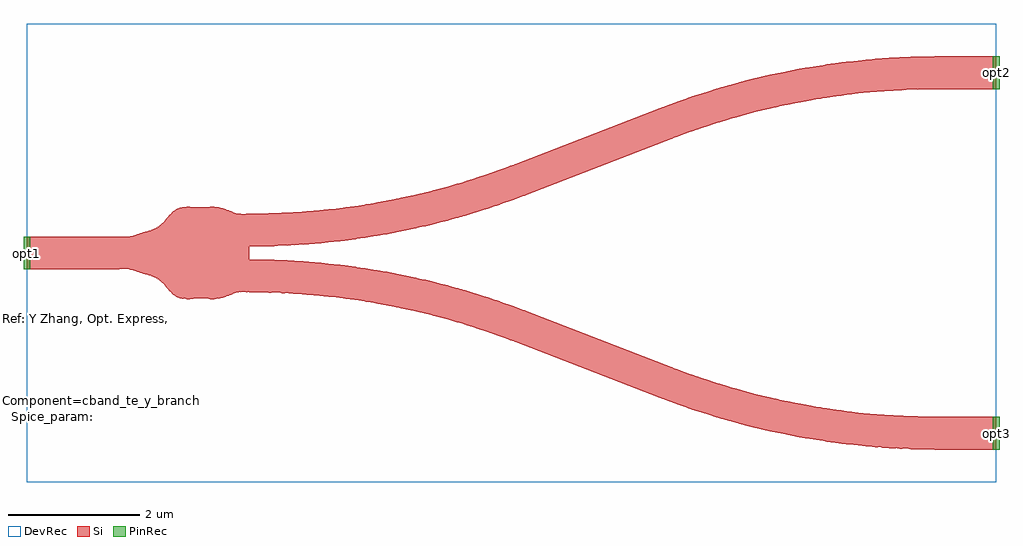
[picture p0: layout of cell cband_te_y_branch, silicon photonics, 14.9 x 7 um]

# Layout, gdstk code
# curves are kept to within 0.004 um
import gdstk
lib = gdstk.Library(unit=1e-6, precision=1e-09)
def R(c, l, rs):  # rectangles x0, y0, x1, y1
    for r in rs: c.add(gdstk.rectangle(r[:2], r[2:], *l))
def P(c, l, *ps):  # polygons
    for p in ps: c.add(gdstk.Polygon(p, *l))
Si = (1, 0)
PinRec = (1, 10)
DevRec = (68, 0)

cband_te_y_branch = lib.new_cell('cband_te_y_branch')
R(cband_te_y_branch, Si, [(6.5,-3,7.4,-2.5), (-7.4,-0.25,-6,0.25), (6.5,2.5,7.4,3)])
P(cband_te_y_branch, Si, [(6.458,-3),(6.237,-2.997),(6.237,-2.497),(6.5,-2.5),(6.5,-3)],
  [(5.033,-2.908),(4.653,-2.854),(4.288,-2.79),(3.941,-2.718),(3.59,-2.634),(3.272,-2.548),(2.922,-2.442),(2.555,-2.318),(2.265,-2.21),(2.445,-1.744),(2.785,-1.869),(3.075,-1.966),(3.437,-2.075),(3.731,-2.154),(4.032,-2.226),(4.372,-2.297),(4.693,-2.354),(5.033,-2.404)],
  [(6.233,-2.997),(5.946,-2.987),(5.619,-2.967),(5.033,-2.908),(5.033,-2.404),(5.625,-2.466),(5.958,-2.487),(6.237,-2.497)],
  [(2.265,-2.21),(0.055,-1.356),(0.235,-0.89),(2.445,-1.744)],
  [(-0.762,-1.076),(-1.123,-0.974),(-1.532,-0.874),(-1.909,-0.796),(-2.334,-0.724),(-2.792,-0.665),(-3.178,-0.63),(-3.601,-0.607),(-4,-0.6),(-4,-0.1),(-3.565,-0.108),(-3.16,-0.13),(-2.794,-0.162),(-2.381,-0.212),(-1.968,-0.277),(-1.565,-0.355),(-1.214,-0.435),(-0.762,-0.555)],
  [(0.055,-1.356),(-0.369,-1.202),(-0.762,-1.076),(-0.762,-0.555),(-0.263,-0.71),(0.235,-0.89)],
  [(6.237,2.497),(6.237,2.997),(6.5,3),(6.5,2.5)],
  [(2.445,1.744),(2.267,2.211),(2.555,2.318),(2.922,2.442),(3.272,2.548),(3.59,2.634),(3.941,2.718),(4.288,2.79),(4.653,2.854),(5.033,2.908),(5.033,2.404),(4.693,2.354),(4.372,2.297),(4.032,2.226),(3.731,2.154),(3.437,2.075),(3.075,1.966),(2.785,1.869)],
  [(5.033,2.404),(5.033,2.908),(5.619,2.967),(5.946,2.987),(6.237,2.997),(6.237,2.497),(5.958,2.487),(5.625,2.466)],
  [(0.235,0.89),(0.055,1.356),(2.265,2.21),(2.445,1.744)],
  [(-4,0.1),(-4,0.6),(-3.601,0.607),(-3.178,0.63),(-2.792,0.665),(-2.334,0.724),(-1.909,0.796),(-1.532,0.874),(-1.123,0.974),(-0.762,1.076),(-0.762,0.555),(-1.214,0.435),(-1.565,0.355),(-1.968,0.277),(-2.381,0.212),(-2.794,0.162),(-3.16,0.13),(-3.565,0.108)],
  [(-0.762,0.555),(-0.762,1.076),(-0.369,1.202),(0.055,1.356),(0.235,0.89),(-0.263,0.71)],
  [(-5.122,-0.662),(-5.179,-0.619),(-5.344,-0.44),(-5.39,-0.404),(-5.442,-0.374),(-5.536,-0.338),(-5.808,-0.255),(-5.883,-0.245),(-6,-0.25),(-6,0.25),(-5.883,0.245),(-5.817,0.253),(-5.536,0.338),(-5.442,0.374),(-5.39,0.404),(-5.344,0.44),(-5.204,0.594),(-5.122,0.662)],
  [(-4.957,-0.703),(-5.047,-0.692),(-5.122,-0.662),(-5.122,0.662),(-5.062,0.688),(-4.978,0.702),(-4.538,0.703),(-4.424,0.685),(-4.232,0.617),(-4.167,0.6),(-4.123,0.595),(-4,0.6),(-4,-0.6),(-4.067,-0.595),(-4.167,-0.6),(-4.232,-0.617),(-4.403,-0.679),(-4.509,-0.701)])
R(cband_te_y_branch, DevRec, [(-7.4,-3.5,7.4,3.5)])
cband_te_y_branch.add(gdstk.FlexPath([(-7.35,0),(-7.45,0)], 0.5, ends="flush", simple_path=True, layer=1, datatype=10))  # PinRec
cband_te_y_branch.add(gdstk.FlexPath([(7.35,2.75),(7.45,2.75)], 0.5, ends="flush", simple_path=True, layer=1, datatype=10))  # PinRec
cband_te_y_branch.add(gdstk.FlexPath([(7.35,-2.75),(7.45,-2.75)], 0.5, ends="flush", simple_path=True, layer=1, datatype=10))  # PinRec
cband_te_y_branch.add(gdstk.Label('Ref: Y Zhang, Opt. Express, 21/1, 2013', (-7.5,-1), layer=10, texttype=0))
cband_te_y_branch.add(gdstk.Label('opt2', (7.4,2.75), layer=1, texttype=10))
cband_te_y_branch.add(gdstk.Label('opt3', (7.4,-2.75), layer=1, texttype=10))
cband_te_y_branch.add(gdstk.Label('opt1', (-7.4,0), layer=1, texttype=10))
cband_te_y_branch.add(gdstk.Label('Spice_param:', (-7.01,-2.5), layer=68, texttype=0))
cband_te_y_branch.add(gdstk.Label('Lumerical_INTERCONNECT_library=Design kits/EBeam_CMLC', (-7.01,-2.375), layer=68, texttype=0))
cband_te_y_branch.add(gdstk.Label('Component=cband_te_y_branch', (-7.01,-2.25), layer=68, texttype=0))
cband_te_y_branch.add(gdstk.Label('cellName=cband_te_y_branch', (-7.01,-2.125), layer=68, texttype=0))
cband_te_y_branch.add(gdstk.Label('pinOrder:opt1 opt2 opt3', (-7.01,-2.625), layer=68, texttype=0))

lib.write_gds('cband_te_y_branch.gds')
